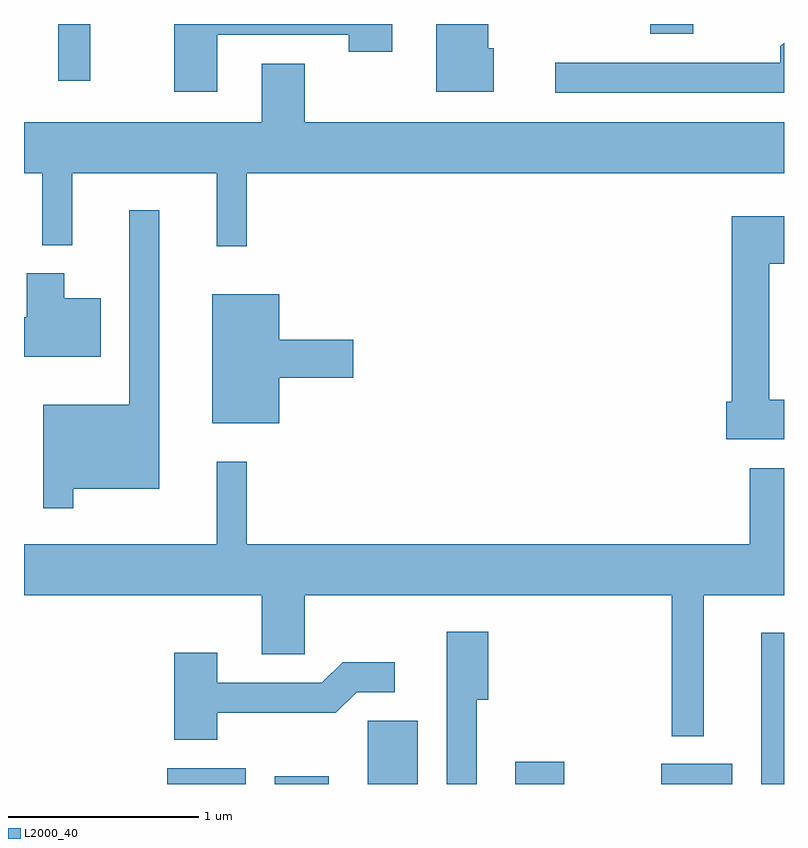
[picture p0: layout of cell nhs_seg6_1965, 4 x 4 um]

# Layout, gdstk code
import gdstk
lib = gdstk.Library(unit=1e-6, precision=1e-09)
def R(c, l, rs):  # rectangles x0, y0, x1, y1
    for r in rs: c.add(gdstk.rectangle(r[:2], r[2:], *l))
def P(c, l, *ps):  # polygons
    for p in ps: c.add(gdstk.Polygon(p, *l))
L2000_40 = (2000, 40)

nhs_seg6_1965 = lib.new_cell('nhs_seg6_1965')
R(nhs_seg6_1965, L2000_40, [(246.366,1540.162,246.779,1540.244), (246.931,1540.162,247.214,1540.204), (247.421,1540.162,247.684,1540.494), (248.196,1540.162,248.454,1540.279), (248.966,1540.162,249.339,1540.269), (249.491,1540.162,249.611,1540.959), (245.791,1543.863,245.959,1544.162), (248.906,1544.111,249.134,1544.162)])
P(nhs_seg6_1965, L2000_40, [(246.629,1544.106),(247.321,1544.106),(247.321,1544.016),(247.549,1544.016),(247.549,1544.162),(246.401,1544.162),(246.401,1543.806),(246.629,1543.806)],
  [(248.084,1544.034),(248.054,1544.034),(248.054,1544.162),(247.781,1544.162),(247.781,1543.806),(248.084,1543.806)],
  [(249.611,1544.064),(249.591,1544.044),(249.591,1543.959),(248.408,1543.959),(248.408,1543.801),(249.611,1543.801)],
  [(246.784,1543.376),(249.611,1543.376),(249.611,1543.644),(247.089,1543.644),(247.089,1543.954),(246.861,1543.954),(246.861,1543.644),(245.611,1543.644),(245.611,1543.376),(245.706,1543.376),(245.706,1542.998),(245.864,1542.998),(245.864,1543.376),(246.626,1543.376),(246.626,1542.993),(246.784,1542.993)],
  [(245.869,1541.716),(246.324,1541.716),(246.324,1543.183),(246.166,1543.183),(246.166,1542.159),(245.711,1542.159),(245.711,1541.613),(245.869,1541.613)],
  [(249.611,1542.184),(249.534,1542.184),(249.534,1542.901),(249.611,1542.901),(249.611,1543.149),(249.336,1543.149),(249.336,1542.174),(249.306,1542.174),(249.306,1541.976),(249.611,1541.976)],
  [(246.014,1542.719),(245.824,1542.719),(245.824,1542.849),(245.626,1542.849),(245.626,1542.619),(245.611,1542.619),(245.611,1542.411),(246.014,1542.411)],
  [(246.954,1542.301),(247.344,1542.301),(247.344,1542.499),(246.954,1542.499),(246.954,1542.739),(246.601,1542.739),(246.601,1542.061),(246.954,1542.061)],
  [(249.189,1541.156),(249.611,1541.156),(249.611,1541.824),(249.431,1541.824),(249.431,1541.424),(246.784,1541.424),(246.784,1541.858),(246.626,1541.858),(246.626,1541.424),(245.611,1541.424),(245.611,1541.156),(246.861,1541.156),(246.861,1540.846),(247.089,1540.846),(247.089,1541.156),(249.021,1541.156),(249.021,1540.413),(249.189,1540.413)],
  [(247.994,1540.606),(248.054,1540.606),(248.054,1540.964),(247.836,1540.964),(247.836,1540.162),(247.994,1540.162)],
  [(246.629,1540.536),(247.252,1540.536),(247.362,1540.646),(247.563,1540.646),(247.563,1540.804),(247.289,1540.804),(247.179,1540.694),(246.629,1540.694),(246.629,1540.854),(246.401,1540.854),(246.401,1540.396),(246.629,1540.396)])

lib.write_gds('nhs_seg6_1965.gds')
